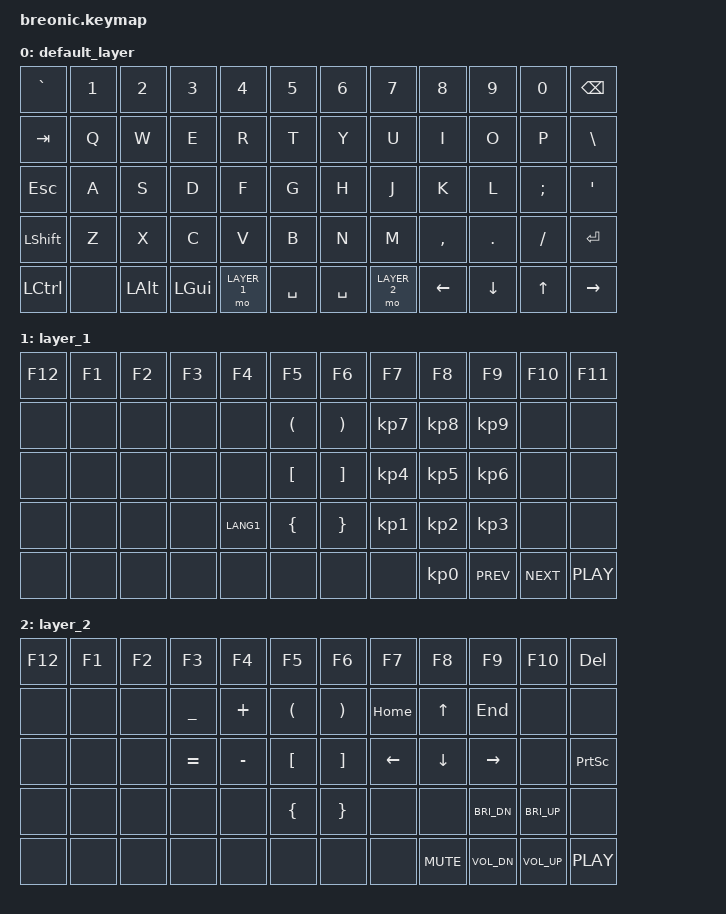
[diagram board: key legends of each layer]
/*
 * Copyright (c) 2023 HeeChan Kang
 *
 * SPDX-License-Identifier: MIT
 */

#include <behaviors.dtsi>
#include <dt-bindings/zmk/keys.h>
#include <dt-bindings/zmk/bt.h>
#include <dt-bindings/zmk/outputs.h>

#define DEFAULT 0
#define LAYER_1 1
#define LAYER_2 2

/ {
    keymap {
        compatible = "zmk,keymap";
        default_layer {
            //  -------------------------------------------------------------------------------------------------
            // |  GRAV |  1   |  2   |  3   |  4    |  5     |   6     |  7     |  8   |  9    |   0   | BSPC   |
            // |  TAB  |  Q   |  W   |  E   |  R    |  T     |   Y     |  U     |  I   |  O    |   P   |  \     |
            // |  ESC  |  A   |  S   |  D   |  F    |  G     |   H     |  J     |  K   |  L    |   ;   |  '     |
            // | SHIFT |  Z   |  X   |  C   |  V    |  B     |   N     |  M     |  ,   |  .    |   /   | RET    |
            // |  CTRL |      | LALT | LGUI | L_1   | SPACE  |  SPACE  |  L_2   | LEFT |  DOWN |   UP  | RIGHT  |
            bindings = <
                &kp GRAVE   &kp N1     &kp N2    &kp N3    &kp N4     &kp N5     &kp N6     &kp N7     &kp N8     &kp N9    &kp N0     &kp BSPC
                &kp TAB     &kp Q      &kp W     &kp E     &kp R      &kp T      &kp Y      &kp U      &kp I      &kp O     &kp P      &kp BSLH
                &kp ESC     &kp A      &kp S     &kp D     &kp F      &kp G      &kp H      &kp J      &kp K      &kp L     &kp SEMI   &kp SQT
                &kp LSHIFT  &kp Z      &kp X     &kp C     &kp V      &kp B      &kp N      &kp M      &kp COMMA  &kp DOT   &kp SLASH  &kp RET
                &kp LCTRL   &none      &kp LALT  &kp LGUI  &mo LAYER_1  &kp SPACE  &kp SPACE  &mo LAYER_2  &kp LEFT   &kp DOWN  &kp UP     &kp RIGHT
                >;
        };
        layer_1 {
            // ------------------------------------------------------------------------------------------
            // |  F12  |  F1  |  F2  |  F3  |  F4  |  F5  |  F6   |  F7  |  F8  |   F9 |  F10  |  F11  |
            // |       |      |      |      |      |  (   |   )   |  7   |   8  |  9   |       |       |
            // |       |      |      |      |      |  [   |   ]   |  4   |   5  |  6   |       |       |
            // |       |      |      |      | 한/영 |  {   |   }   |  1   |   2  |  3   |       |       |
            // |       |      |      |      |      |      |       |      |   0  | PREV | NEXT  | PLAY  |
            bindings = <
                &kp F12  &kp F1  &kp F2  &kp F3  &kp F4     &kp F5    &kp F6    &kp F7       &kp F8     &kp F9     &kp F10    &kp F11
                &none    &none   &none   &none   &none      &kp LPAR  &kp RPAR  &kp KP_N7    &kp KP_N8  &kp KP_N9  &none      &none
                &none    &none   &none   &none   &none      &kp LBKT  &kp RBKT  &kp KP_N4    &kp KP_N5  &kp KP_N6  &none      &none
                &none    &none   &none   &none   &kp LANG1  &kp LBRC  &kp RBRC  &kp KP_N1    &kp KP_N2  &kp KP_N3  &none      &none
                &none    &none   &none   &none   &none      &none     &none     &none        &kp KP_N0  &kp C_PREV &kp C_NEXT &kp C_PLAY
                >;
        };
        layer_2 {
            // -------------------------------------------------------------------------------------------
            // |  F12  |  F1  |  F2  |  F3  |  F4  |  F5   |  F6   |  F7   |  F8  |  F9       |   F10   |   DEL   |
            // |       |      |      |  _   |  +   |   (   |   )   | HOME  |  UP  |  END      |         |         |
            // |       |      |      |  =   |  -   |   [   |   ]   | LEFT  | DOWN | RIGHT     |         | PRNTSCR |
            // |       |      |      |      |      |   {   |   }   |       |      |  BRGTDOWN |  BRGTUP |         |
            // |       |      |      |      |      |       |       |       | MUTE |   VOL-    |   VOL+  |  PLAY   |
            bindings = <
                &kp F12  &kp F1  &kp F2  &kp F3     &kp F4        &kp F5    &kp F6     &kp F7     &kp F8     &kp F9        &kp F10       &kp DEL
                &none    &none   &none   &kp UNDER  &kp PLUS      &kp LPAR  &kp RPAR   &kp HOME   &kp UP     &kp END       &none         &none
                &none    &none   &none   &kp EQUAL  &kp MINUS     &kp LBKT  &kp RBKT   &kp LEFT   &kp DOWN   &kp RIGHT     &none         &kp PSCRN
                &none    &none   &none   &none      &none         &kp LBRC  &kp RBRC   &none      &none      &kp C_BRI_DN  &kp C_BRI_UP  &none
                &none    &none   &none   &none      &none         &none     &none      &none      &kp C_MUTE &kp C_VOL_DN  &kp C_VOL_UP  &kp C_PLAY
                >;
        };
    };
};
